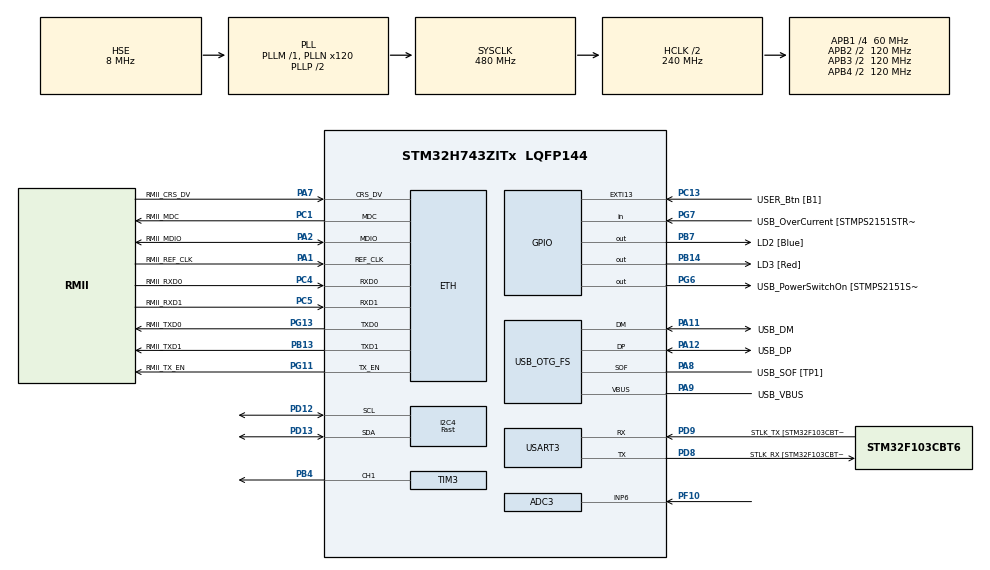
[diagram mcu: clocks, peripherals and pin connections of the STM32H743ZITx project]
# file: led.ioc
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ADC3.Channel-2\#ChannelRegularConversion=ADC_CHANNEL_6
ADC3.Channel-3\#ChannelRegularConversion=ADC_CHANNEL_6
ADC3.ContinuousConvMode=ENABLE
ADC3.NbrOfConversion=2
ADC3.NbrOfConversionFlag=1
ADC3.OffsetNumber-3\#ChannelRegularConversion=ADC_OFFSET_NONE
ADC3.OffsetSignedSaturation-3\#ChannelRegularConversion=DISABLE
ADC3.Rank-3\#ChannelRegularConversion=2
ADC3.SamplingTime-3\#ChannelRegularConversion=ADC_SAMPLETIME_1CYCLE_5
Dma.Request0=TIM3_CH1
Dma.TIM3_CH1.0.Direction=DMA_MEMORY_TO_PERIPH
Dma.TIM3_CH1.0.EventEnable=DISABLE
Dma.TIM3_CH1.0.FIFOMode=DMA_FIFOMODE_DISABLE
Dma.TIM3_CH1.0.Instance=DMA1_Stream0
Dma.TIM3_CH1.0.MemDataAlignment=DMA_MDATAALIGN_HALFWORD
Dma.TIM3_CH1.0.MemInc=DMA_MINC_ENABLE
Dma.TIM3_CH1.0.Mode=DMA_NORMAL
Dma.TIM3_CH1.0.PeriphDataAlignment=DMA_PDATAALIGN_HALFWORD
Dma.TIM3_CH1.0.PeriphInc=DMA_PINC_DISABLE
Dma.TIM3_CH1.0.Polarity=HAL_DMAMUX_REQ_GEN_RISING
Dma.TIM3_CH1.0.Priority=DMA_PRIORITY_LOW
Dma.TIM3_CH1.0.RequestNumber=1
Dma.TIM3_CH1.0.SignalID=NONE
Dma.TIM3_CH1.0.SyncEnable=DISABLE
Dma.TIM3_CH1.0.SyncPolarity=HAL_DMAMUX_SYNC_NO_EVENT
Dma.TIM3_CH1.0.SyncRequestNumber=1
Dma.TIM3_CH1.0.SyncSignalID=NONE
ETH.MediaInterface=HAL_ETH_RMII_MODE
I2C4.I2C_Speed_Mode=I2C_Fast
I2C4.Timing=0x00B03FDB
Mcu.Family=STM32H7
Mcu.Name=STM32H743ZITx
Mcu.Package=LQFP144
NVIC.ADC3_IRQn=true\:0\:0\:false\:false\:true\:true\:true\:true
NVIC.DMA1_Stream0_IRQn=true\:0\:0\:false\:false\:true\:false\:true\:true
NVIC.I2C4_EV_IRQn=true\:0\:0\:false\:false\:true\:true\:true\:true
NVIC.PriorityGroup=NVIC_PRIORITYGROUP_4
NVIC.TIM3_IRQn=true\:0\:0\:false\:false\:true\:true\:true\:true
PA1.GPIO_Label=RMII_REF_CLK
PA1.Mode=RMII
PA1.Signal=ETH_REF_CLK
PA10.GPIO_Label=USB_ID
PA10.Signal=USB_OTG_FS_ID
PA11.GPIO_Label=USB_DM
PA11.Mode=Device_Only
PA11.Signal=USB_OTG_FS_DM
PA12.GPIO_Label=USB_DP
PA12.Mode=Device_Only
PA12.Signal=USB_OTG_FS_DP
PA13\ (JTMS/SWDIO).GPIO_Label=TMS
PA13\ (JTMS/SWDIO).Mode=Trace_Asynchronous_SW
PA13\ (JTMS/SWDIO).Signal=DEBUG_JTMS-SWDIO
PA14\ (JTCK/SWCLK).GPIO_Label=TCK
PA14\ (JTCK/SWCLK).Mode=Trace_Asynchronous_SW
PA14\ (JTCK/SWCLK).Signal=DEBUG_JTCK-SWCLK
PA2.GPIO_Label=RMII_MDIO
PA2.Mode=RMII
PA2.Signal=ETH_MDIO
PA7.GPIO_Label=RMII_CRS_DV
PA7.Mode=RMII
PA7.Signal=ETH_CRS_DV
PA8.GPIO_Label=USB_SOF [TP1]
PA8.Mode=Activate_SOF_FS
PA8.Signal=USB_OTG_FS_SOF
PA9.GPIO_Label=USB_VBUS
PA9.Mode=Activate_VBUS
PA9.Signal=USB_OTG_FS_VBUS
PB13.GPIO_Label=RMII_TXD1
PB13.Mode=RMII
PB13.Signal=ETH_TXD1
PB14.GPIO_Label=LD3 [Red]
PB14.Signal=GPIO_Output
PB3\ (JTDO/TRACESWO).GPIO_Label=SWO
PB3\ (JTDO/TRACESWO).Mode=Trace_Asynchronous_SW
PB3\ (JTDO/TRACESWO).Signal=DEBUG_JTDO-SWO
PB4\ (NJTRST).Signal=S_TIM3_CH1
PB7.GPIO_Label=LD2 [Blue]
PB7.Signal=GPIO_Output
PC1.GPIO_Label=RMII_MDC
PC1.Mode=RMII
PC1.Signal=ETH_MDC
PC13.GPIO_Label=USER_Btn [B1]
PC13.Signal=GPXTI13
PC14-OSC32_IN\ (OSC32_IN).Mode=LSE-External-Oscillator
PC14-OSC32_IN\ (OSC32_IN).Signal=RCC_OSC32_IN
PC15-OSC32_OUT\ (OSC32_OUT).Mode=LSE-External-Oscillator
PC15-OSC32_OUT\ (OSC32_OUT).Signal=RCC_OSC32_OUT
PC4.GPIO_Label=RMII_RXD0
PC4.Mode=RMII
PC4.Signal=ETH_RXD0
PC5.GPIO_Label=RMII_RXD1
PC5.Mode=RMII
PC5.Signal=ETH_RXD1
PD12.Mode=I2C
PD12.Signal=I2C4_SCL
PD13.Mode=I2C
PD13.Signal=I2C4_SDA
PD8.GPIO_Label=STLK_RX [STM32F103CBT6_PA3]
PD8.Mode=Asynchronous
PD8.Signal=USART3_TX
PD9.GPIO_Label=STLK_TX [STM32F103CBT6_PA2]
PD9.Mode=Asynchronous
PD9.Signal=USART3_RX
PF10.Mode=IN6-Single-Ended
PF10.Signal=ADC3_INP6
PG11.GPIO_Label=RMII_TX_EN
PG11.Mode=RMII
PG11.Signal=ETH_TX_EN
PG13.GPIO_Label=RMII_TXD0
PG13.Mode=RMII
PG13.Signal=ETH_TXD0
PG6.GPIO_Label=USB_PowerSwitchOn [STMPS2151STR_EN]
PG6.Signal=GPIO_Output
PG7.GPIO_Label=USB_OverCurrent [STMPS2151STR_FAULT]
PG7.Signal=GPIO_Input
PH0-OSC_IN\ (PH0).GPIO_Label=MCO
PH0-OSC_IN\ (PH0).Mode=HSE-External-Oscillator
PH0-OSC_IN\ (PH0).Signal=RCC_OSC_IN
PH1-OSC_OUT\ (PH1).Mode=HSE-External-Oscillator
PH1-OSC_OUT\ (PH1).Signal=RCC_OSC_OUT
ProjectManager.HeapSize=0x200
ProjectManager.StackSize=0x400
ProjectManager.TargetToolchain=STM32CubeIDE
RCC.48MHZClocksFreq_Value=24000000
RCC.ADCCLockSelection=RCC_ADCCLKSOURCE_PLL3
RCC.ADCFreq_Value=100000000
RCC.AHBFreq_Value=216000000
RCC.APB1CLKDivider=RCC_HCLK_DIV4
RCC.APB1Freq_Value=60000000
RCC.APB1TimFreq_Value=108000000
RCC.APB2CLKDivider=RCC_HCLK_DIV2
RCC.APB2Freq_Value=120000000
RCC.APB2TimFreq_Value=216000000
RCC.APB3Freq_Value=120000000
RCC.APB4Freq_Value=120000000
RCC.CortexFreq_Value=480000000
RCC.D1PPRE=RCC_APB3_DIV2
RCC.D2PPRE1=RCC_APB1_DIV4
RCC.D2PPRE2=RCC_APB2_DIV2
RCC.D3PPRE=RCC_APB4_DIV2
RCC.DIVM1=1
RCC.DIVM2=2
RCC.DIVM3=2
RCC.DIVN1=120
RCC.DIVN2=133
RCC.DIVN3=50
RCC.DIVQ1=4
RCC.HCLKFreq_Value=240000000
RCC.HPRE=RCC_HCLK_DIV2
RCC.HSE_VALUE=8000000
RCC.HSI_VALUE=64000000
RCC.PLLM=25
RCC.PLLMUL=RCC_PLL_MUL9
RCC.PLLN=432
RCC.PLLQ=9
RCC.PLLSourceVirtual=RCC_PLLSOURCE_HSE
RCC.PRESCALERUSB=RCC_USBCLKSOURCE_PLL_DIV1_5
RCC.PWR_Regulator_Voltage_Scale=PWR_REGULATOR_VOLTAGE_SCALE0
RCC.ProductRev=revV
RCC.SYSCLKFreq_VALUE=480000000
RCC.SYSCLKSource=RCC_SYSCLKSOURCE_PLLCLK
RCC.SYSCLKSourceVirtual=RCC_SYSCLKSOURCE_PLLCLK
RCC.USBCLockSelection=RCC_USBCLKSOURCE_HSI48
RCC.USBFreq_Value=48000000
RCC.VCOOutputFreq_Value=432000000
SH.S_TIM3_CH1.0=TIM3_CH1,PWM Generation1 CH1
TIM3.Channel-PWM\ Generation1\ CH1=TIM_CHANNEL_1
TIM3.Period=150-1
USART3.VirtualMode-Asynchronous=VM_ASYNC
USB_OTG_FS.VirtualMode=Device_Only
VP_TIM3_VS_ClockSourceINT.Mode=Internal
board=NUCLEO-H743ZI

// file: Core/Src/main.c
/* USER CODE BEGIN Header */
/**
  ******************************************************************************
  * @file           : main.c
  * @brief          : Main program body
  ******************************************************************************
  * @attention
  *
  * Copyright (c) 2023 STMicroelectronics.
  * All rights reserved.
  *
  * This software is licensed under terms that can be found in the LICENSE file
  * in the root directory of this software component.
  * If no LICENSE file comes with this software, it is provided AS-IS.
  *
  ******************************************************************************
  */
/* USER CODE END Header */
#include "main.h"
#include "adc.h"
#include "dma.h"
#include "eth.h"
#include "i2c.h"
#include "tim.h"
#include "usart.h"
#include "usb_otg.h"
#include "gpio.h"

/* USER CODE BEGIN PV */
int status;
/* USER CODE END PV */

void SystemClock_Config(void);

/* USER CODE BEGIN 0 */

int datasentflag=0;
#define MAX_LED 10
#define USE_BRIGHTNESS 1

uint8_t LED_Data[MAX_LED][4];
uint8_t LED_Mod[MAX_LED][4];  // for brightness

void Set_LED (int LEDnum, int Red, int Green, int Blue)
{
  LED_Data[LEDnum][0] = LEDnum;
  LED_Data[LEDnum][1] = Green;
  LED_Data[LEDnum][2] = Red;
  LED_Data[LEDnum][3] = Blue;
}

#define PI 3.14159265

void Set_Brightness (int brightness)  // 0-45
{
#if USE_BRIGHTNESS

  if (brightness > 45) brightness = 45;
  for (int i=0; i<MAX_LED; i++)
  {
    LED_Mod[i][0] = LED_Data[i][0];
    for (int j=1; j<4; j++)
    {
      float angle = 90-brightness;  // in degrees
      angle = angle*PI / 180;  // in rad
      LED_Mod[i][j] = (LED_Data[i][j])/(tan(angle));
    }
  }

#endif

}

uint16_t pwmData[(24*MAX_LED)+50];

void WS2812_Send (void)
{
  uint32_t indx=0;
  uint32_t color;

  for (int i= 0; i<MAX_LED; i++)
  {
#if USE_BRIGHTNESS
    color = ((LED_Mod[i][1]<<16) | (LED_Mod[i][2]<<8) | (LED_Mod[i][3]));
#else
    color = ((LED_Data[i][1]<<16) | (LED_Data[i][2]<<8) | (LED_Data[i][3]));
#endif

    for (int i=23; i>=0; i--)
    {
      if (color&(1<<i))
      {
        pwmData[indx] = 100;  // 2/3 of 90
      }

      else pwmData[indx] = 50;  // 1/3 of 90

      indx++;
    }

  }

  for (int i=0; i<50; i++)
  {
    pwmData[indx] = 0;
    indx++;
  }

  HAL_TIM_PWM_Start_DMA(&htim3, TIM_CHANNEL_1, (uint32_t *)pwmData, indx);
  while (!datasentflag){};
  datasentflag = 0;
}

void HAL_TIM_PWM_PulseFinishedCallback(TIM_HandleTypeDef *htim)
{
  HAL_TIM_PWM_Stop_DMA(&htim3, TIM_CHANNEL_1);
  datasentflag=1;
}

uint16_t AD_RES = 0;
uint16_t data;

void HAL_ADC_ConvCpltCallback(ADC_HandleTypeDef* hadc)
{
    // Read & Update The ADC Result
    AD_RES = HAL_ADC_GetValue(&hadc3);
}
/* USER CODE END 0 */

int main(void)
{

  /* MCU Configuration--------------------------------------------------------*/

  /* Reset of all peripherals, Initializes the Flash interface and the Systick. */
  HAL_Init();

  /* Configure the system clock */
  SystemClock_Config();

  /* Initialize all configured peripherals */
  MX_GPIO_Init();
  MX_DMA_Init();
  MX_USB_OTG_FS_PCD_Init();
  MX_TIM3_Init();
  MX_ETH_Init();
  MX_USART3_UART_Init();
  MX_ADC3_Init();
  MX_I2C4_Init();
  /* USER CODE BEGIN 2 */
  // Start ADC Conversion
//  HAL_ADC_Start_IT(&hadc3);
  Set_LED(0, 255, 0, 0);
  Set_LED(1, 0, 255, 0);
  Set_LED(2, 0, 0, 255);
  Set_LED(3, 46, 89, 128);
  Set_LED(4, 156, 233, 100);
  Set_LED(5, 102, 0, 235);
  Set_LED(6, 47, 38, 77);
  Set_LED(7, 255, 200, 0);
  Set_LED(8, 0, 255, 255);

  isl76682_init(0x44 << 1);
  /* USER CODE END 2 */

  /* Infinite loop */
  /* USER CODE BEGIN WHILE */
  while (1)
  {

//    data = AD_RES[0];
    status = isl76682_read(0x44 << 1);
    Set_Brightness((status*45)/200);
    WS2812_Send();
    HAL_Delay(100);
    /* USER CODE END WHILE */

  }
}

void SystemClock_Config(void)
{
  RCC_OscInitTypeDef RCC_OscInitStruct = {0};
  RCC_ClkInitTypeDef RCC_ClkInitStruct = {0};

  /** Supply configuration update enable
  */
  HAL_PWREx_ConfigSupply(PWR_LDO_SUPPLY);

  /** Configure the main internal regulator output voltage
  */
  __HAL_PWR_VOLTAGESCALING_CONFIG(PWR_REGULATOR_VOLTAGE_SCALE1);

  while(!__HAL_PWR_GET_FLAG(PWR_FLAG_VOSRDY)) {}

  __HAL_RCC_SYSCFG_CLK_ENABLE();
  __HAL_PWR_VOLTAGESCALING_CONFIG(PWR_REGULATOR_VOLTAGE_SCALE0);

  while(!__HAL_PWR_GET_FLAG(PWR_FLAG_VOSRDY)) {}

  /** Macro to configure the PLL clock source
  */
  __HAL_RCC_PLL_PLLSOURCE_CONFIG(RCC_PLLSOURCE_HSE);

  /** Initializes the RCC Oscillators according to the specified parameters
  * in the RCC_OscInitTypeDef structure.
  */
  RCC_OscInitStruct.OscillatorType = RCC_OSCILLATORTYPE_HSI48|RCC_OSCILLATORTYPE_HSE;
  RCC_OscInitStruct.HSEState = RCC_HSE_ON;
  RCC_OscInitStruct.HSI48State = RCC_HSI48_ON;
  RCC_OscInitStruct.PLL.PLLState = RCC_PLL_ON;
  RCC_OscInitStruct.PLL.PLLSource = RCC_PLLSOURCE_HSE;
  RCC_OscInitStruct.PLL.PLLM = 1;
  RCC_OscInitStruct.PLL.PLLN = 120;
  RCC_OscInitStruct.PLL.PLLP = 2;
  RCC_OscInitStruct.PLL.PLLQ = 4;
  RCC_OscInitStruct.PLL.PLLR = 2;
  RCC_OscInitStruct.PLL.PLLRGE = RCC_PLL1VCIRANGE_3;
  RCC_OscInitStruct.PLL.PLLVCOSEL = RCC_PLL1VCOWIDE;
  RCC_OscInitStruct.PLL.PLLFRACN = 0;
  if (HAL_RCC_OscConfig(&RCC_OscInitStruct) != HAL_OK)
  {
    Error_Handler();
  }

  /** Initializes the CPU, AHB and APB buses clocks
  */
  RCC_ClkInitStruct.ClockType = RCC_CLOCKTYPE_HCLK|RCC_CLOCKTYPE_SYSCLK
                              |RCC_CLOCKTYPE_PCLK1|RCC_CLOCKTYPE_PCLK2
                              |RCC_CLOCKTYPE_D3PCLK1|RCC_CLOCKTYPE_D1PCLK1;
  RCC_ClkInitStruct.SYSCLKSource = RCC_SYSCLKSOURCE_PLLCLK;
  RCC_ClkInitStruct.SYSCLKDivider = RCC_SYSCLK_DIV1;
  RCC_ClkInitStruct.AHBCLKDivider = RCC_HCLK_DIV2;
  RCC_ClkInitStruct.APB3CLKDivider = RCC_APB3_DIV2;
  RCC_ClkInitStruct.APB1CLKDivider = RCC_APB1_DIV4;
  RCC_ClkInitStruct.APB2CLKDivider = RCC_APB2_DIV2;
  RCC_ClkInitStruct.APB4CLKDivider = RCC_APB4_DIV2;

  if (HAL_RCC_ClockConfig(&RCC_ClkInitStruct, FLASH_LATENCY_4) != HAL_OK)
  {
    Error_Handler();
  }
}

void Error_Handler(void)
{
  __disable_irq();
  while (1)
  {
  }
}
